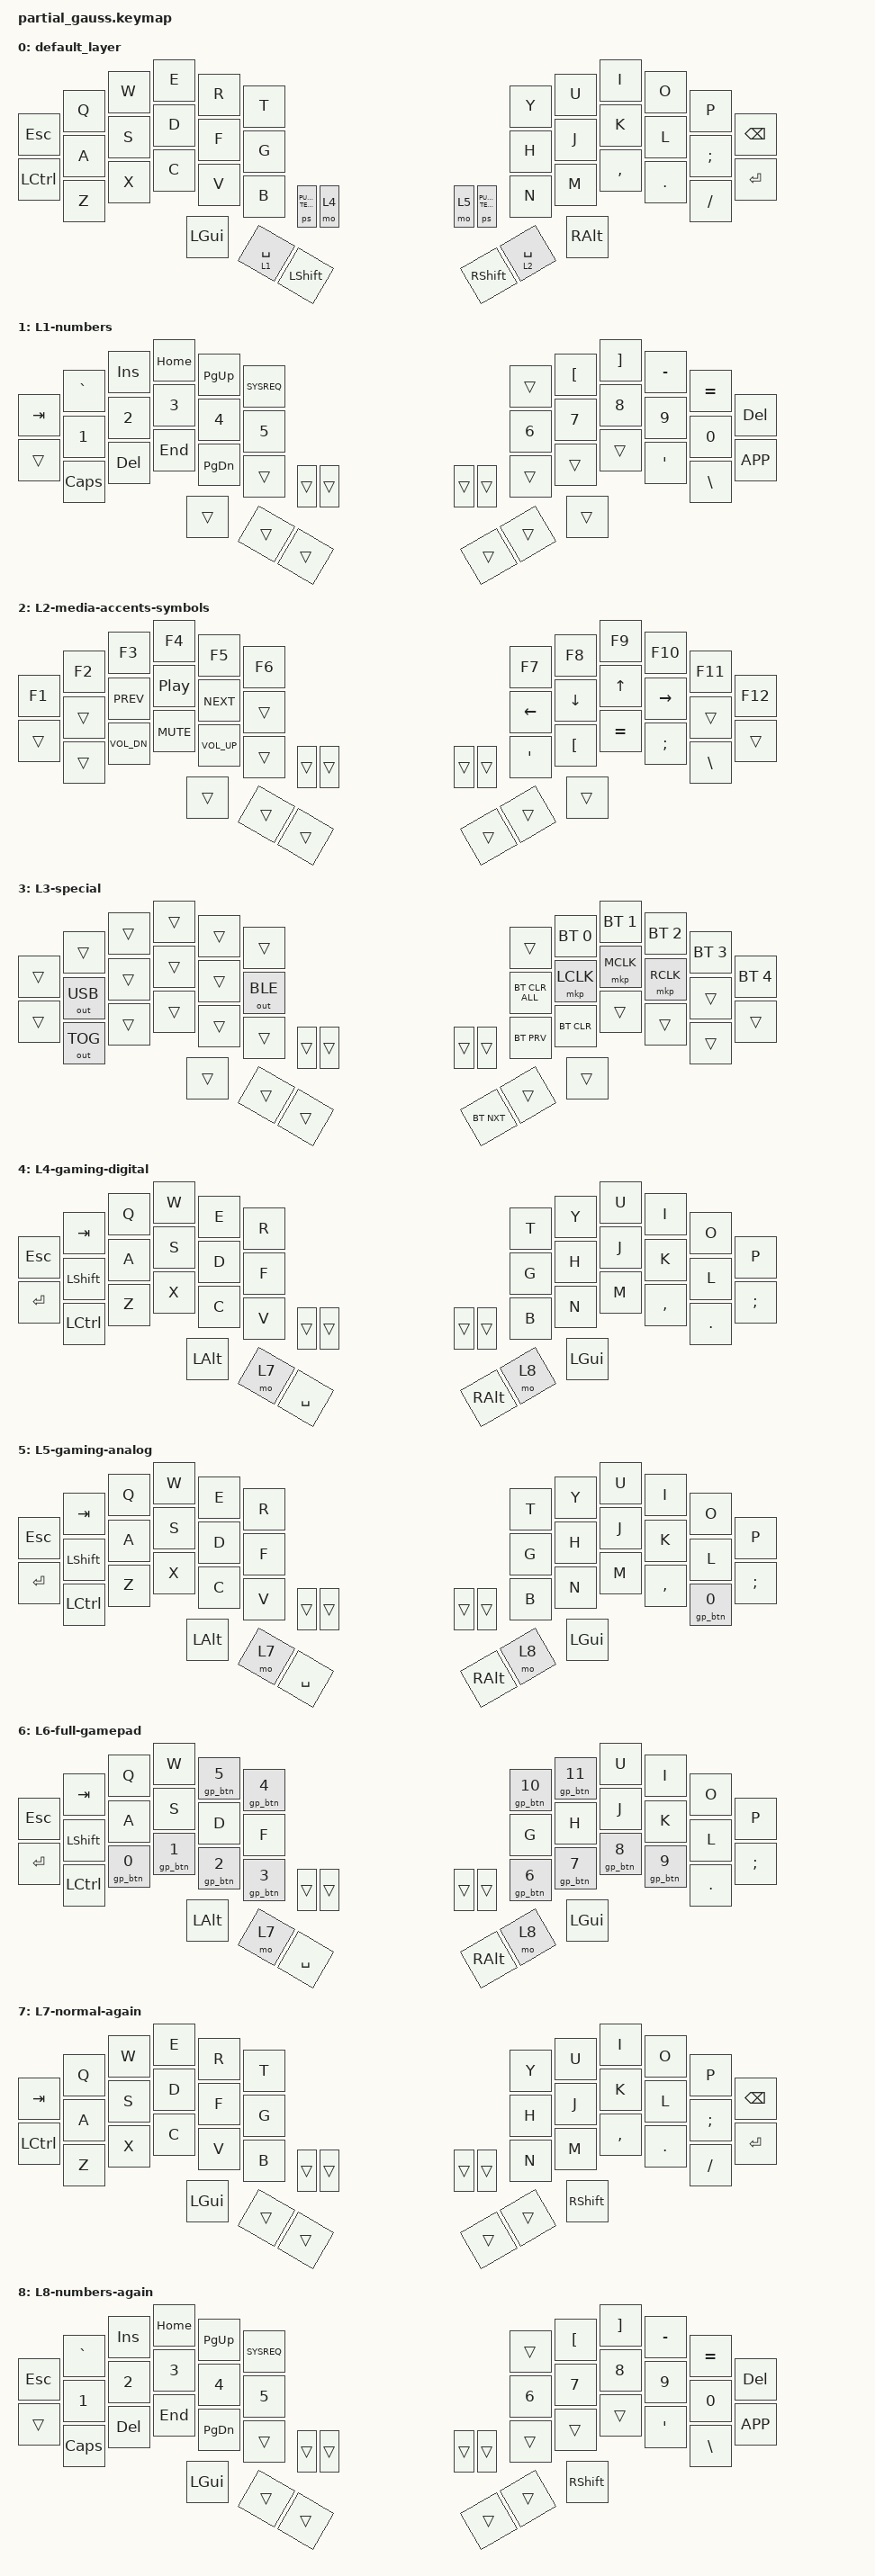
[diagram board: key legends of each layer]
/*
 * Copyright (c) 2025 cr3eperall
 *
 * SPDX-License-Identifier: MIT
 */

#include <behaviors.dtsi>
#include <dt-bindings/zmk/keys.h>
#include <dt-bindings/zmk/bt.h>
#include <dt-bindings/zmk/outputs.h>
#include <behaviors/gamepad_button.dtsi>
#include <dt-bindings/he/pulse_set.h>
#include <dt-bindings/zmk/pointing.h>

/ {
    conditional_layers {
        compatible = "zmk,conditional-layers";
        L3 {
            if-layers = <1 2>;
            then-layer = <3>;
        };
        L6 {
            if-layers = <4 5>;
            then-layer = <6>;
        };
    };
    km: keymap {
        compatible = "zmk,keymap";

        default_layer {
            // -----------------------------------------------------------------------------------------
            // |  ESC  |  Q  |  W  |  E  |  R  |  T  |     |  Y  |  U  |  I  |  O  |  P  |  BSPC  |
            // |  CTRL |  A  |  S  |  D  |  F  |  G  |     |  H  |  J  |  K  |  L  |  ;  |  ENTER |
            //         |  Z  |  X  |  C  |  V  |  B  |     |  N  |  M  |  ,  |  .  |  /  |
            // |  SW1  | SW2 |     | LGUI| L1  |SHIFT|     |SHIFT| L2  | ALT |     | SW2 |   SW1  |
            bindings = <
                &kp ESC &kp Q &kp W &kp E &kp R &kp T            &kp Y &kp U &kp I &kp O &kp P    &kp BSPC
              &kp LCTRL &kp A &kp S &kp D &kp F &kp G            &kp H &kp J &kp K &kp L &kp SEMI &kp RET
                        &kp Z &kp X &kp C &kp V &kp B            &kp N &kp M &kp COMMA &kp DOT &kp FSLH
  &ps PULSE_TEMP_OFF &mo 4    &kp LGUI &lt 1 SPACE &kp LSHFT     &kp RSHFT &lt 2 SPACE &kp RALT   &mo 5 &ps PULSE_TEMP_OFF
            >;
        };
        L1-numbers {
            // ---------------------------------------------------------------------------------------------------------
            // |  TAB  |  `   |  INS |  HOME |  PG_UP  |  SYS_QR |         |     |  [  |  ]  |  -  |  =  |  DEL  |
            // |       |  1   |  2   |   3   |    4    |    5    |         |  6  |  7  |  8  |  9  |  0  |  APP  |
            //         | CAPS |  DEL |  END  | PG_DOWN |         |         |     |     |     |  '  |  \  |
            //                       |       |   L1    |         |         |     | _L2 |     |
            bindings = <
               &kp TAB &kp GRAVE &kp INS &kp HOME &kp PG_UP &kp SYSREQ       &trans  &kp LBKT &kp RBKT &kp MINUS &kp EQUAL &kp DEL
               &trans  &kp N1  &kp N2 &kp N3   &kp N4    &kp N5             &kp N6 &kp N7 &kp N8 &kp N9 &kp N0 &kp K_APP
                      &kp CAPS &kp DEL &kp END &kp PG_DN &trans             &trans &trans &trans  &kp SQT &kp BSLH
            &trans   &trans            &trans  &trans    &trans              &trans &trans &trans                &trans   &trans
            >;
        };
        L2-media-accents-symbols {
            // -----------------------------------------------------------------------------------------
            // |  F1  |  F2 | F3  | F4  | F5  | F6  |               | F7  | F8  | F9  | F10 | F11 | F12  |
            // |      |     |PREV |PPAUS|NEXT |     |               |LEFT |DOWN | UP  |RIGHT|     |      |
            //        |     |VOLDW| MUTE|VOLUP|     |               |'(a) |[(è) |=(ì) |;(ò) |\(ù) |
            //                    |     | _L1 |     |               |     | L2  |     |
            bindings = <
               &kp F1  &kp F2 &kp F3 &kp F4 &kp F5 &kp F6                    &kp F7 &kp F8  &kp F9 &kp F10 &kp F11 &kp F12
            &trans &trans &kp C_PREV &kp C_PP &kp C_NEXT &trans             &kp LEFT &kp DOWN &kp UP  &kp RIGHT &trans &trans
                &trans    &kp C_VOL_DN &kp C_MUTE &kp C_VOL_UP &trans      &kp SQT &kp LBKT &kp EQUAL &kp SEMI &kp BSLH
            &trans    &trans          &trans &trans   &trans               &trans   &trans    &trans           &trans   &trans
            >;
        };
        L3-special {
            // -----------------------------------------------------------------------------------------
            // |        |       |MOU_W| MOU_U  | MOU_W |       |              |          | BT_0 | BT_1 | BT_2 | BT_3 | BT_4 |
            // |        |OUT_USB|MOU_L| MOU_D  | MOU_R |OUT_BLE|              |BT_CLR_ALL|M_LCK |M_MCK |M_RCK |      |      |
            //          |OUT_TOG|     |        |       |       |              |  BT_PRV  |BT_CLR|      |      |      |
            //                        |        |       |  _L2  |              |  BT_NXT  | _L1  |      |
            bindings = <
            &trans  &trans   &trans &trans &trans &trans                  &trans &bt BT_SEL 0 &bt BT_SEL 1 &bt BT_SEL 2 &bt BT_SEL 3 &bt BT_SEL 4
            &trans &out OUT_USB &trans &trans &trans &out OUT_BLE          &bt BT_CLR_ALL &mkp LCLK &mkp MCLK  &mkp RCLK &trans &trans
                   &out OUT_TOG &trans &trans &trans &trans               &bt BT_PRV &bt BT_CLR  &trans  &trans &trans
            &trans    &trans          &trans &trans &trans                 &bt BT_NXT   &trans    &trans           &trans   &trans
            >;
        };
        L4-gaming-digital {
            // -----------------------------------------------------------------------------------------
            // |  ESC  | TAB |  Q  |  W  |  E  |  R  |     |  T  |  Y  |  U  |  I  |  O  |  P  |
            // | ENTER |SHIFT|  A  |  S  |  D  |  F  |     |  G  |  H  |  J  |  K  |  L  |  ;  |
            //         |CTRL |  Z  |  X  |  C  |  V  |     |  B  |  N  |  M  |  ,  |  .  |
            //                     | ALT | SPC | L7  |     | ALT | L6  | LGUI|
            bindings = <
            &kp ESC &kp TAB   &kp Q &kp W &kp E &kp R       &kp T &kp Y &kp U &kp I &kp O &kp P
            &kp RET &kp LSHFT &kp A &kp S &kp D &kp F       &kp G &kp H &kp J &kp K &kp L &kp SEMI
                    &kp LCTRL &kp Z &kp X &kp C &kp V       &kp B &kp N &kp M &kp COMMA &kp DOT
            &trans &trans     &kp LALT &mo 7 &kp SPACE      &kp RALT &mo 8 &kp LGUI         &trans   &trans
            >;
        };
        L5-gaming-analog {
            // -----------------------------------------------------------------------------------------
            // |  ESC  | TAB |  Q  | gp_U|  E  |  R  |         |  T  |  Y  |  U  |  I  |  O  |  P  |
            // | ENTER |SHIFT| gp_L| gp_D| gp_R|  F  |         |  G  |  H  |  J  |  K  |  L  |  ;  |
            //         |CTRL |  Z  |  X  |  C  |  V  |         |  B  |  N  |  M  |  ,  |gp_A |
            //                     | ALT | SPC | L7  |         | ALT | L6  | LGUI|
            bindings = <
            &kp ESC  &kp TAB  &kp Q &kp W &kp E &kp R           &kp T &kp Y &kp U &kp I &kp O &kp P
            &kp RET &kp LSHFT &kp A &kp S &kp D &kp F          &kp G &kp H &kp J &kp K &kp L &kp SEMI
                    &kp LCTRL &kp Z &kp X &kp C &kp V          &kp B &kp N &kp M &kp COMMA &gp_btn 0
            &trans  &trans     &kp LALT &mo 7 &kp SPACE        &kp RALT &mo 8 &kp LGUI         &trans   &trans
            >;
        };
        L6-full-gamepad{
            // -----------------------------------------------------------------------------------------
            // |  ESC  | TAB |gp_LT| gp_U| gp_5|gp_4 |         |gp_10|gp_11|gp_U |gp_RT|  O  |  P  |
            // | ENTER |SHIFT| gp_L| gp_D| gp_R|  F  |         |  G  |gp_L |gp_D |gp_R |  L  |  ;  |
            //         |CTRL |gp_0 |gp_1 |gp_2 |gp_3 |         |gp_6 |gp_7 |gp_8 |gp_9 |  .  |
            //                     | ALT | SPC | L7  |         | ALT | L6  | LGUI|
            bindings = <
            &kp ESC  &kp TAB  &kp Q &kp W &gp_btn 5 &gp_btn 4          &gp_btn 10 &gp_btn 11 &kp U &kp I &kp O &kp P
            &kp RET &kp LSHFT &kp A &kp S &kp D &kp F                   &kp G  &kp H  &kp J &kp K &kp L &kp SEMI
                    &kp LCTRL &gp_btn 0 &gp_btn 1 &gp_btn 2 &gp_btn 3   &gp_btn 6  &gp_btn 7  &gp_btn 8 &gp_btn 9 &kp DOT
            &trans  &trans     &kp LALT &mo 7 &kp SPACE                 &kp RALT &mo 8 &kp LGUI         &trans   &trans
            >;
        };
        L7-normal-again {
            // -----------------------------------------------------------------------------------------
            // |  TAB  |  Q  |  W  |  E  |  R  |  T  |     |  Y  |  U  |  I  |  O  |  P  |  BSPC  |
            // |  CTRL |  A  |  S  |  D  |  F  |  G  |     |  H  |  J  |  K  |  L  |  ;  |  ENTER |
            //         |  Z  |  X  |  C  |  V  |  B  |     |  N  |  M  |  ,  |  .  |  /  |
            // |  SW1  | SW2 |     | LGUI| SPC | L2  |     | ALT | L1  |SHIFT|     | SW2 |   SW1  |
            bindings = <
                &kp TAB &kp Q &kp W &kp E &kp R &kp T       &kp Y &kp U &kp I &kp O &kp P    &kp BSPC
              &kp LCTRL &kp A &kp S &kp D &kp F &kp G       &kp H &kp J &kp K &kp L &kp SEMI &kp RET
                        &kp Z &kp X &kp C &kp V &kp B       &kp N &kp M &kp COMMA &kp DOT &kp FSLH
               &trans &trans    &kp LGUI &trans &trans        &trans &trans &kp RSHFT          &trans &trans
            >;
        };
        L8-numbers-again {
            // ---------------------------------------------------------------------------------------------------------
            // |  ESC  |  `   |  INS |  HOME |  PG_UP  |  SYS_QR |         |     |  [  |  ]  |  -  |  =  |  DEL  |
            // |       |  1   |  2   |   3   |    4    |    5    |         |  6  |  7  |  8  |  9  |  0  |  APP  |
            //         | CAPS |  DEL |  END  | PG_DOWN |         |         |     |     |     |  '  |  \  |
            //                       |       |         |   L2    |         |     | _L1 |     |
            bindings = <
               &kp ESC &kp GRAVE &kp INS &kp HOME &kp PG_UP &kp SYSREQ       &trans  &kp LBKT &kp RBKT &kp MINUS &kp EQUAL &kp DEL
               &trans  &kp N1  &kp N2 &kp N3   &kp N4    &kp N5            &kp N6 &kp N7 &kp N8 &kp N9 &kp N0 &kp K_APP
                      &kp CAPS &kp DEL &kp END &kp PG_DN &trans          &trans &trans &trans  &kp SQT &kp BSLH
            &trans   &trans            &kp LGUI  &trans  &trans          &trans &trans &kp RSHFT                &trans   &trans
            >;
        };
    };
};
&he_keymap {
    layer0 {
        input-processors = <
            &he_pass 0 &he_pass 1 &he_pass 2        &he_pass 3 &he_pass 4  &he_pass 5
            &he_pass 6 &he_pass 7 &he_pass 8        &he_pass 9 &he_pass 10 &he_pass 11
        >;
    };
    layer1 {
        input-processors = <
            &he_pass 0 &he_pass 1 &he_pass 2        &he_pass 3 &he_pass 4  &he_pass 5
            &he_pass 6 &he_pass 7 &he_pass 8        &he_pass 9 &he_pass 10 &he_pass 11
        >;
    };
    layer2 {
        input-processors = <
            &he_pass 0 &he_pass 1 &he_pass 2        &he_pass 3 &he_pass 4  &he_pass 5
            &he_pass 6 &he_pass 7 &he_pass 8        &he_pass 9 &he_pass 10 &he_pass 11
            >;
    };
    layer3 {
        input-processors = <
            &mouse_fw MOUSE_V_WHEEL_UP &mouse_fw MOUSE_Y_UP &mouse_fw MOUSE_V_WHEEL_DOWN &he_pass 3 &he_pass 4  &he_pass 5
            &mouse_fw MOUSE_X_LEFT &mouse_fw MOUSE_Y_DOWN &mouse_fw MOUSE_X_RIGHT        &he_pass 9 &he_pass 10 &he_pass 11
        >;
    };
    layer4 {
        input-processors = <
            &he_pass 0 &he_pass 1 &he_pass 2        &he_pass 3 &he_pass 4  &he_pass 5
            &socd_d 0  &he_pass 7 &socd_d 1         &he_pass 9 &he_pass 10 &he_pass 11
        >;
    };
    layer5 {//TODO set gamepad input processors
        input-processors = <
            &he_pass 0   &gp_fw GP_L_UP   &he_pass 2            &he_pass 3 &he_pass 4  &he_pass 5
            &gp_fw GP_L_LEFT &gp_fw GP_L_DOWN &gp_fw GP_L_RIGHT     &he_pass 9 &he_pass 10 &he_pass 11
        >;
    };
    layer6 {
        input-processors = <
            &gp_fw GP_L_TR   &gp_fw GP_L_UP   &he_pass 2            &he_pass 3 &gp_fw GP_R_UP  &gp_fw GP_R_TR
            &gp_fw GP_L_LEFT &gp_fw GP_L_DOWN &gp_fw GP_L_RIGHT     &gp_fw GP_R_LEFT &gp_fw GP_R_DOWN &gp_fw GP_R_RIGHT
        >;
    };
    layer7 {
        input-processors = <
            &he_pass 0 &he_pass 1 &he_pass 2        &he_pass 3 &he_pass 4  &he_pass 5
            &he_pass 6 &he_pass 7 &he_pass 8        &he_pass 9 &he_pass 10 &he_pass 11
            >;
    };
    layer8 {
        input-processors = <
            &he_pass 0 &he_pass 1 &he_pass 2        &he_pass 3 &he_pass 4  &he_pass 5
            &he_pass 6 &he_pass 7 &he_pass 8        &he_pass 9 &he_pass 10 &he_pass 11
            >;
    };
};
